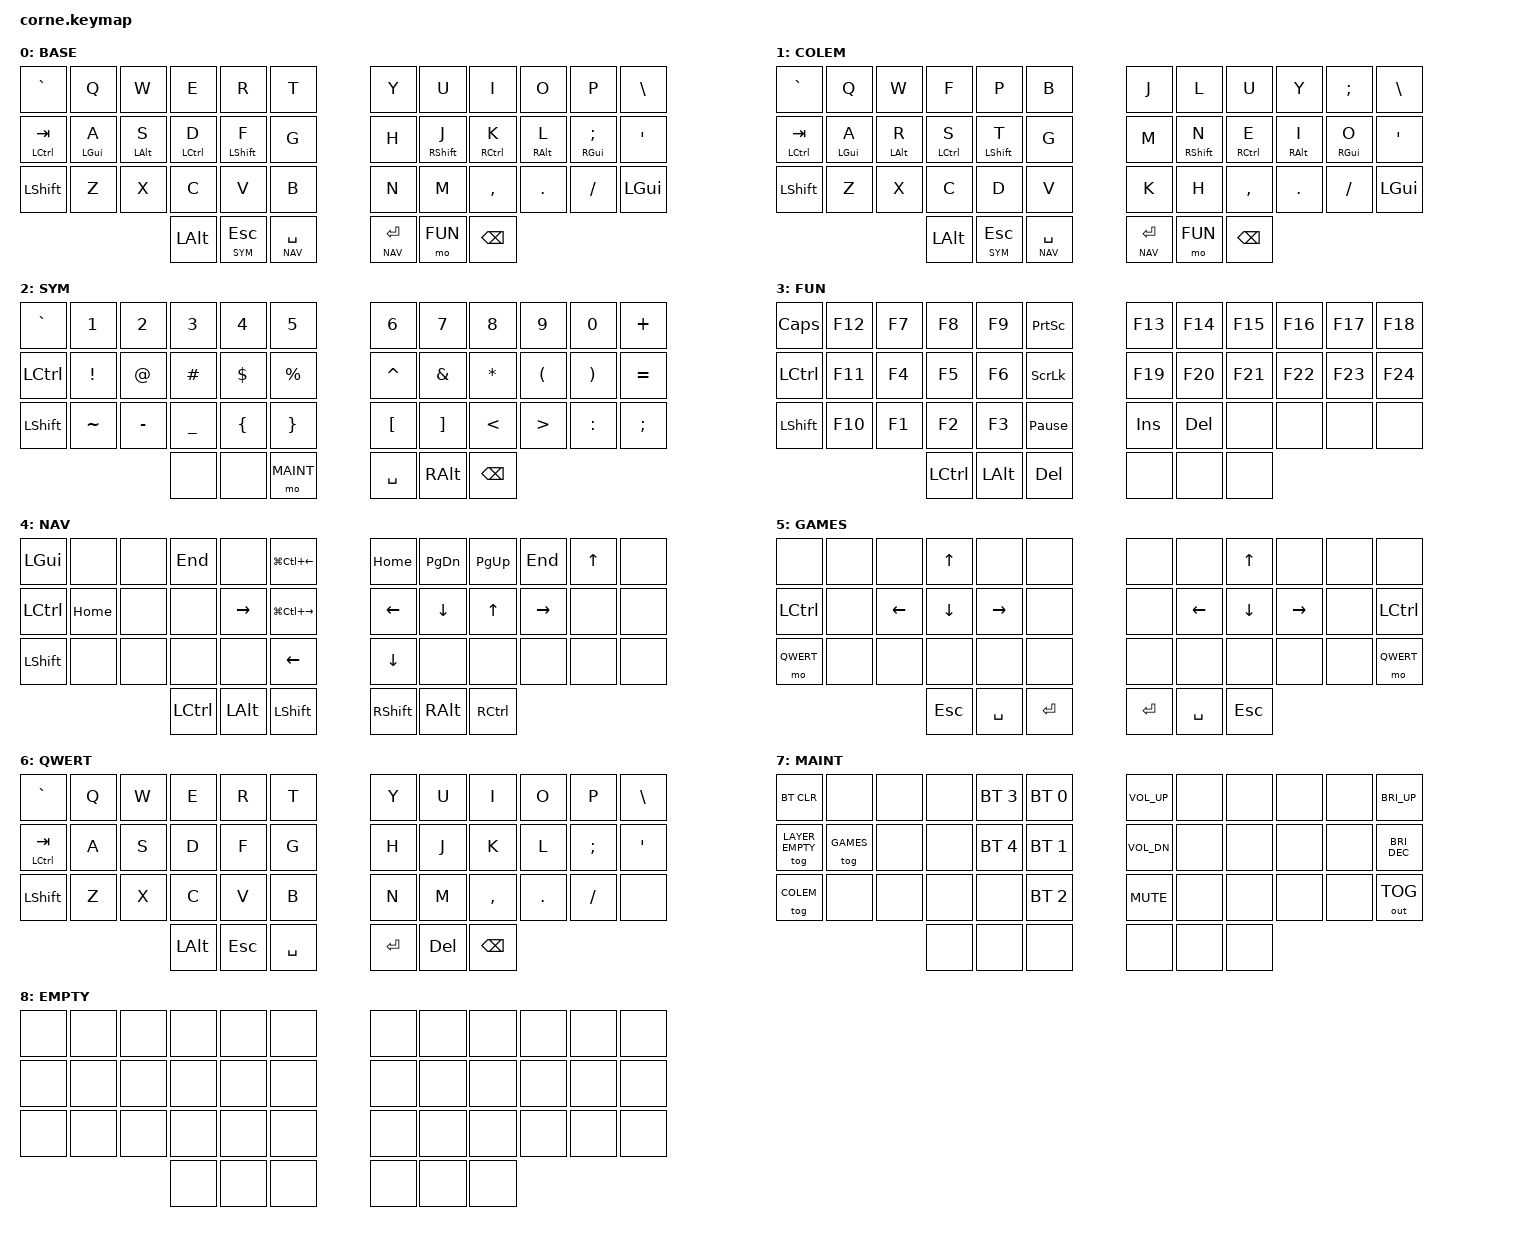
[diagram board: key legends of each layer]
/*
 * Copyright (c) 2020 The ZMK Contributors
 *
 * SPDX-License-Identifier: MIT
 */

#include <behaviors.dtsi>
#include <dt-bindings/zmk/keys.h>
#include <dt-bindings/zmk/bt.h>
#include <dt-bindings/zmk/outputs.h>

// layers
#define BASE    0
#define COLEM   1
#define SYM     2
#define FUN     3
#define NAV     4
#define GAMES   5
#define QWERT   6
#define MAINT   7
#define LAYER_EMPTY 8

#define TOG_EMPTY &tog LAYER_EMPTY

// Home row mods macro
// for qwerty layout
#define LGUI_A        &ht LGUI   A
#define LALT_S        &ht LALT   S
#define LCTL_D        &ht LCTRL  D
#define LSHIFT_F      &ht LSHIFT F

#define RSHIFT_J      &ht RSHIFT J
#define RCTL_K        &ht RCTRL  K
#define RALT_L        &ht RALT   L
#define RGUI_SEMI     &ht RGUI   SEMI

// for colemak layout
#define LALT_R        &ht LALT   R
#define LCTL_S        &ht LCTRL  S
#define LSHIFT_T      &ht LSHIFT T

#define RSHIFT_N      &ht RSHIFT N
#define RCTL_E        &ht RCTRL  E
#define RALT_I        &ht RALT   I
#define RGUI_O        &ht RGUI   O

// Layer-Taps
#define SYM_ESC       &lt SYM    ESC
#define NAV_SPC       &lt NAV    SPACE
#define NAV_ENT       &lt NAV    RET

// Mod-Taps
#define LALT_BKSP     &mt LALT   BSPC
#define LCTRL_TAB     &mt LCTRL  TAB

// function key combos
#define FUN_COPY      &kp LC(C)
#define FUN_PASTE     &kp LC(V)
#define FUN_UNDO      &kp LC(Z)
#define FUN_CUT       &kp LC(X)

// switch virtual desktop for windows os
#define FUN_SCRN_L    &kp LG(LC(LEFT))
#define FUN_SCRN_R    &kp LG(LC(RIGHT))


/ {
    #include "include/macros.dtsi"
    #include "include/combos.dtsi"
    #include "include/behaviors.dtsi"

    keymap {
    compatible = "zmk,keymap";

        base_layer {
            display-name = "BASE";
            bindings = <
    //╭──────────┬──────────┬──────────┬──────────┬──────────┬──────────╮   ╭──────────┬──────────┬──────────┬──────────┬──────────┬──────────╮
    //│  `~      │  Q       │  W       │  E       │  R       │  T       │   │  Y       │  U       │  I       │  O       │  P       │  \ |
        &kp GRAVE  &kp Q      &kp W      &kp E      &kp R      &kp T          &kp Y      &kp U      &kp I      &kp O      &kp P      &kp BSLH
    //├──────────┼──────────┼──────────┼──────────┼──────────┼──────────┤   ├──────────┼──────────┼──────────┼──────────┼──────────┼──────────┤
    //│ CTRL/TAB │  A       │  S       │  D       │  F       │  G       │   │  H       │  J       │  K       │  L       │  ; :     │  ' "
        LCTRL_TAB  LGUI_A     LALT_S     LCTL_D     LSHIFT_F   &kp G          &kp H      RSHIFT_J   RCTL_K     RALT_L     RGUI_SEMI   &kp SQT
    //├──────────┼──────────┼──────────┼──────────┼──────────┼──────────┤   ├──────────┼──────────┼──────────┼──────────┬──────────┼──────────┤
    //│  SHFT    │  Z       │  X       │  C       │  V       │  B       │   │  N       │  M       │  , <     │  . >     │  / ?     │  GUI
       &kp LSHFT   &kp Z      &kp X      &kp C      &kp V      &kp B          &kp N      &kp M      &kp COMMA  &kp DOT    &kp FSLH   &kp LGUI
    //╰──────────┴──────────┴──────────┼──────────┼──────────┼──────────┤   ├──────────┼──────────┼──────────┼──────────┴──────────┴──────────╯
    //                                 │  ALT     │  SYM/ESC │  NAV/SPC │   │  NAV/ENT │  FUN     │  BKSP    │
                                         &kp LALT    SYM_ESC    NAV_SPC        NAV_ENT   &mo FUN    &kp BSPC
    //                                 ╰──────────┴──────────┴──────────╯   ╰──────────┴──────────┴──────────╯
            >;
        };

        colem_layer {
            display-name = "COLEM";
            bindings = <
    //╭──────────┬──────────┬──────────┬──────────┬──────────┬──────────╮   ╭──────────┬──────────┬──────────┬──────────┬──────────┬──────────╮
    //│  `~      │  Q       │  W       │  F       │  P       │  B       │   │  J       │  L       │  U       │  Y       │  ; :     │  \ |
        &kp GRAVE  &kp Q      &kp W      &kp F      &kp P      &kp B          &kp J      &kp L      &kp U      &kp Y      &kp SEMI   &kp BSLH
    //├──────────┼──────────┼──────────┼──────────┼──────────┼──────────┤   ├──────────┼──────────┼──────────┼──────────┼──────────┼──────────┤
    //│ CTRL/TAB │  A       │  R       │  S       │  T       │  G       │   │  M       │  N       │  E       │  I       │  O       │  ' "
        LCTRL_TAB  LGUI_A     LALT_R     LCTL_S     LSHIFT_T   &kp G          &kp M      RSHIFT_N   RCTL_E     RALT_I     RGUI_O     &kp SQT
    //├──────────┼──────────┼──────────┼──────────┼──────────┼──────────┤   ├──────────┼──────────┼──────────┼──────────┬──────────┼──────────┤
    //│  SHIFT   │  Z       │  X       │  C       │  D       │  V       │   │  K       │  H       │  , <     │  . >     │  / ?     │  GUI
        &kp LSHIFT &kp Z      &kp X      &kp C      &kp D      &kp V          &kp K      &kp H      &kp COMMA  &kp DOT    &kp FSLH   &kp LGUI
    //╰──────────┴──────────┴──────────┼──────────┼──────────┼──────────┤   ├──────────┼──────────┼──────────┼──────────┴──────────┴──────────╯
    //                                 │  ALT     │  SYM/ESC │  NAV/SPC │   │  NAV/ENT │  FUN     │  BKSP    │
                                         &kp LALT    SYM_ESC    NAV_SPC        NAV_ENT   &mo FUN    &kp BSPC
    //                                 ╰──────────┴──────────┴──────────╯   ╰──────────┴──────────┴──────────╯
            >;
        };

        symbol_layer {
            display-name = "SYM";
            bindings = <
    //╭──────────┬──────────┬──────────┬──────────┬──────────┬──────────╮   ╭──────────┬──────────┬──────────┬──────────┬──────────┬──────────╮
    //│  `~      │  1       │  2       │  3       │  4       │  5       │   │  6       │  7       │  8       │  9       │  0       │  +
        &kp GRAVE  &kp N1     &kp N2     &kp N3     &kp N4     &kp N5         &kp N6     &kp N7     &kp N8     &kp N9     &kp N0     &kp PLUS
    //├──────────┼──────────┼──────────┼──────────┼──────────┼──────────┤   ├──────────┼──────────┼──────────┼──────────┼──────────┼──────────┤
    //│  CTRL    │  !       │  @       │  #       │  $       │  %       │   │  ^       │  &       │  *       │  (       │  )       │  =
        &kp LCTRL  &kp EXCL   &kp AT     &kp HASH   &kp DLLR   &kp PRCNT      &kp CARET  &kp AMPS   &kp ASTRK  &kp LPAR   &kp RPAR   &kp EQUAL
    //├──────────┼──────────┼──────────┼──────────┼──────────┼──────────┤   ├──────────┼──────────┼──────────┼──────────┬──────────┼──────────┤
    //│  SHIFT   │  ~       │  -       │  _       │  {       │  }       │   │  [       │  ]       │  <       │  >       │  :       │  ;
        &kp LSHIFT &kp TILDE  &kp MINUS  &kp UNDER  &kp LBRC   &kp RBRC       &kp LBKT   &kp RBKT   &kp LT     &kp GT     &kp COLON  &kp SEMI
    //╰──────────┴──────────┴──────────┼──────────┼──────────┼──────────┤   ├──────────┼──────────┼──────────┼──────────┴──────────┴──────────╯
    //                                 │          ┼──────────┼  MAINT   │   │  SPC     │  ALT     │  BKSP
                                         &none      &none      &mo MAINT      &kp SPACE  &kp RALT   &kp BSPC
    //                                 ╰──────────┴──────────┴──────────╯   ╰──────────┴──────────┴──────────╯
            >;
        };

        function_layer {
            display-name = "FUN";
            bindings = <
    //╭──────────┬──────────┬──────────┬──────────┬──────────┬──────────╮   ╭──────────┬──────────┬──────────┬──────────┬──────────┬──────────╮
    //│ CAPSLOCK │  F12     │  F7      │  F8      │  F9      │  PRINT   │   │  F13     │  F14     │  F15     │  F16     │  F17     │  F18
        &kp CAPS   &kp F12    &kp F7     &kp F8     &kp F9     &kp PSCRN      &kp F13    &kp F14    &kp F15    &kp F16    &kp F17    &kp F18
    //├──────────┼──────────┼──────────┼──────────┼──────────┼──────────┤   ├──────────┼──────────┼──────────┼──────────┼──────────┼──────────┤
    //│  CTRL    │  F11     │  F4      │  F5      │  F6      │  SCRLK   │   │  F19     │  F20     │  F21     │  F22     │  F23     │  F24
        &kp LCTRL  &kp F11    &kp F4     &kp F5     &kp F6     &kp SLCK       &kp F19    &kp F20    &kp F21    &kp F22    &kp F23    &kp F24
    //├──────────┼──────────┼──────────┼──────────┼──────────┼──────────┤   ├──────────┼──────────┼──────────┼──────────┬──────────┼──────────┤
    //│  SHIFT   │  F10     │  F1      │  F2      │  F3      │  BREAK   │   │  INS     │  DEL     │          │          │          │
        &kp LSHIFT &kp F10    &kp F1     &kp F2     &kp F3  &kp PAUSE_BREAK   &kp INS    &kp DEL    &none      &none      &none      &none
    //╰──────────┴──────────┴──────────┼──────────┼──────────┼──────────┤   ├──────────┼──────────┼──────────┼──────────┴──────────┴──────────╯
    //                                 │  CTRL    │  ALT     │  DEL     │   │          ┼──────────┼          │
                                         &kp LCTL   &kp LALT   &kp DEL        &none      &none      &none
    //                                 ╰──────────┴──────────┴──────────╯   ╰──────────┴──────────┴──────────╯
            >;
        };

        navigation_layer {
            display-name = "NAV";
            bindings = <
    //╭──────────┬──────────┬──────────┬──────────┬──────────┬──────────╮   ╭──────────┬──────────┬──────────┬──────────┬──────────┬──────────╮
    //│  GUI     │          │          │  END     │          │ SCREEN_L │   │  HOME    │ PAGE DOWN│  PAGE UP │  END     │  UP      │
        &kp LGUI   &none      &none      &kp END    &none      FUN_SCRN_L     &kp HOME  &kp PG_DN   &kp PG_UP  &kp END    &kp UP     &none
    //├──────────┼──────────┼──────────┼──────────┼──────────┼──────────┤   ├──────────┼──────────┼──────────┼──────────┼──────────┼──────────┤
    //│  CTRL    │  HOME    │          │          │  RIGHT   │ SCREEN_R │   │  LEFT    │  DOWN    │  UP      │  RIGHT   │          │
        &kp LCTRL  &kp HOME   &none      &none      &kp RIGHT  FUN_SCRN_R     &kp LEFT   &kp DOWN   &kp UP     &kp RIGHT  &none      &none
    //├──────────┼──────────┼──────────┼──────────┼──────────┼──────────┤   ├──────────┼──────────┼──────────┼──────────┬──────────┼──────────┤
    //│  SHIFT   │          │          │          │          │  LEFT    │   │  DOWN    │          │          │          │          │
        &kp LSHIFT &none      &none      &none      &none      &kp LEFT       &kp DOWN   &none      &none      &none      &none      &none
    //╰──────────┴──────────┴──────────┼──────────┼──────────┼──────────┤   ├──────────┼──────────┼──────────┼──────────┴──────────┴──────────╯
    //                                 │  CTRL    │  ALT     │  SHIFT   │   │  SHIFT   │  ALT     │  CTRL    │
                                         &kp LCTL   &kp LALT   &kp LSHFT      &kp RSHFT  &kp RALT   &kp RCTL
    //                                 ╰──────────┴──────────┴──────────╯   ╰──────────┴──────────┴──────────╯
            >;
        };

        games_layer {
            display-name = "GAMES";
            bindings = <
    //╭──────────┬──────────┬──────────┬──────────┬──────────┬──────────╮   ╭──────────┬──────────┬──────────┬──────────┬──────────┬──────────╮
    //│          │          │          │  UP      │          │          │   │          │          │  UP      │          │          │
        &none      &none      &none      &kp UP     &none      &none          &none      &none      &kp UP     &none      &none      &none
    //├──────────┼──────────┼──────────┼──────────┼──────────┼──────────┤   ├──────────┼──────────┼──────────┼──────────┼──────────┼──────────┤
    //│  CTRL    │          │  LEFT    │  DOWN    │  RIGHT   │          │   │          │  LEFT    │  DOWN    │  RIGHT   │          │  CTRL
        &kp LCTRL  &none      &kp LEFT   &kp DOWN   &kp RIGHT  &none          &none      &kp LEFT   &kp DOWN   &kp RIGHT  &none      &kp LCTRL
    //├──────────┼──────────┼──────────┼──────────┼──────────┼──────────┤   ├──────────┼──────────┼──────────┼──────────┬──────────┼──────────┤
    //│  QWERT   │          │          │          │          │          │   │          │          │          │          │          │  QWERT
        &mo QWERT  &none      &none      &none      &none      &none          &none      &none      &none      &none      &none      &mo QWERT
    //╰──────────┴──────────┴──────────┼──────────┼──────────┼──────────┤   ├──────────┼──────────┼──────────┼──────────┴──────────┴──────────╯
    //                                 │  ESC     │  SPACE   │  ENT     │   │  ENT     │  SPACE   │  ESC     │
                                         &kp ESC    &kp SPACE  &kp RET        &kp RET    &kp SPACE  &kp ESC
    //                                 ╰──────────┴──────────┴──────────╯   ╰──────────┴──────────┴──────────╯
            >;
        };

        qwert_layer {
            display-name = "QWERT";
            bindings = <
    //╭──────────┬──────────┬──────────┬──────────┬──────────┬──────────╮   ╭──────────┬──────────┬──────────┬──────────┬──────────┬──────────╮
    //│  `~      │  Q       │  W       │  E       │  R       │  T       │   │  Y       │  U       │  I       │  O       │  P       │  \ |
        &kp GRAVE  &kp Q      &kp W      &kp E      &kp R      &kp T          &kp Y      &kp U      &kp I      &kp O      &kp P      &kp BSLH
    //├──────────┼──────────┼──────────┼──────────┼──────────┼──────────┤   ├──────────┼──────────┼──────────┼──────────┼──────────┼──────────┤
    //│ CTRL/TAB │  A       │  S       │  D       │  F       │  G       │   │  H       │  J       │  K       │  L       │  ; :     │  ' "
        LCTRL_TAB  &kp A      &kp S      &kp D      &kp F      &kp G          &kp H      &kp J      &kp K      &kp L      &kp SEMI   &kp SQT
    //├──────────┼──────────┼──────────┼──────────┼──────────┼──────────┤   ├──────────┼──────────┼──────────┼──────────┬──────────┼──────────┤
    //│  SHFT    │  Z       │  X       │  C       │  V       │  B       │   │  N       │  M       │  , <     │  . >     │  / ?     │
       &kp LSHFT   &kp Z      &kp X      &kp C      &kp V      &kp B          &kp N      &kp M      &kp COMMA  &kp DOT    &kp FSLH   &none
    //╰──────────┴──────────┴──────────┼──────────┼──────────┼──────────┤   ├──────────┼──────────┼──────────┼──────────┴──────────┴──────────╯
    //                                 │  ALT     │  ESC     │  SPACE   │   │  ENT     │  DEL     │  BKSP    │
                                         &kp LALT   &kp ESC    &kp SPACE      &kp RET    &kp DEL    &kp BSPC
    //                                 ╰──────────┴──────────┴──────────╯   ╰──────────┴──────────┴──────────╯
            >;
        };

        maintenance_layer {
            display-name = "MAINT";
            bindings = <
    //╭──────────┬──────────┬──────────┬──────────┬──────────┬──────────╮   ╭──────────┬──────────┬──────────┬──────────┬──────────┬──────────╮
    //│ CLEAR BT │          │          │          │PROFILE 3 │PROFILE 0 │   │  VOL+    │          │          │          │          │  BRIGHT+
        &bt BT_CLR &none      &none      &none   &bt BT_SEL 3 &bt BT_SEL 0  &kp C_VOL_UP &none      &none      &none      &none    &kp C_BRI_UP
    //├──────────┼──────────┼──────────┼──────────┼──────────┼──────────┤   ├──────────┼──────────┼──────────┼──────────┼──────────┼──────────┤
    //│  EMPTY   │  GAMES   │          │          │PROFILE 4 │PROFILE 1 │   │  VOL-    │          │          │          │          │  BRIGHT-
        TOG_EMPTY  &tog GAMES &none      &none   &bt BT_SEL 4 &bt BT_SEL 1  &kp C_VOL_DN &none      &none      &none      &none    &kp C_BRI_DEC
    //├──────────┼──────────┼──────────┼──────────┼──────────┼──────────┤   ├──────────┼──────────┼──────────┼──────────┬──────────┼──────────┤
    //│  COLEM   │          │          │          │          │PROFILE 2 │   │  MUTE    │          │          │          │          │  OUT_TOG
        &tog COLEM &none      &none      &none      &none     &bt BT_SEL 2  &kp C_MUTE   &none      &none      &none      &none    &out OUT_TOG
    //╰──────────┴──────────┴──────────┼──────────┼──────────┼──────────┤   ├──────────┼──────────┼──────────┼──────────┴──────────┴──────────╯
    //                                 │          │          │          │   │          │          │          │
                                         &none      &none      &none          &none      &none      &none
    //                                 ╰──────────┴──────────┴──────────╯   ╰──────────┴──────────┴──────────╯
            >;
        };

        empty_layer {
            display-name = "EMPTY";
            bindings = <
    //╭──────────┬──────────┬──────────┬──────────┬──────────┬──────────╮   ╭──────────┬──────────┬──────────┬──────────┬──────────┬──────────╮
    //│          │          │          │          │          │          │   │          │          │          │          │          │
        &none      &none      &none      &none      &none      &none          &none      &none      &none      &none      &none      &none
    //├──────────┼──────────┼──────────┼──────────┼──────────┼──────────┤   ├──────────┼──────────┼──────────┼──────────┼──────────┼──────────┤
    //│          │          │          │          │          │          │   │          │          │          │          │          │
        &none      &none      &none      &none      &none      &none          &none      &none      &none      &none      &none      &none
    //├──────────┼──────────┼──────────┼──────────┼──────────┼──────────┤   ├──────────┼──────────┼──────────┼──────────┬──────────┼──────────┤
    //│          │          │          │          │          │          │   │          │          │          │          │          │
        &none      &none      &none      &none      &none      &none          &none      &none      &none      &none      &none      &none
    //╰──────────┴──────────┴──────────┼──────────┼──────────┼──────────┤   ├──────────┼──────────┼──────────┼──────────┴──────────┴──────────╯
    //                                 │          │          │          │   │          │          │          │
                                         &none      &none      &none          &none      &none      &none
    //                                 ╰──────────┴──────────┴──────────╯   ╰──────────┴──────────┴──────────╯
            >;
        };

    };
};
